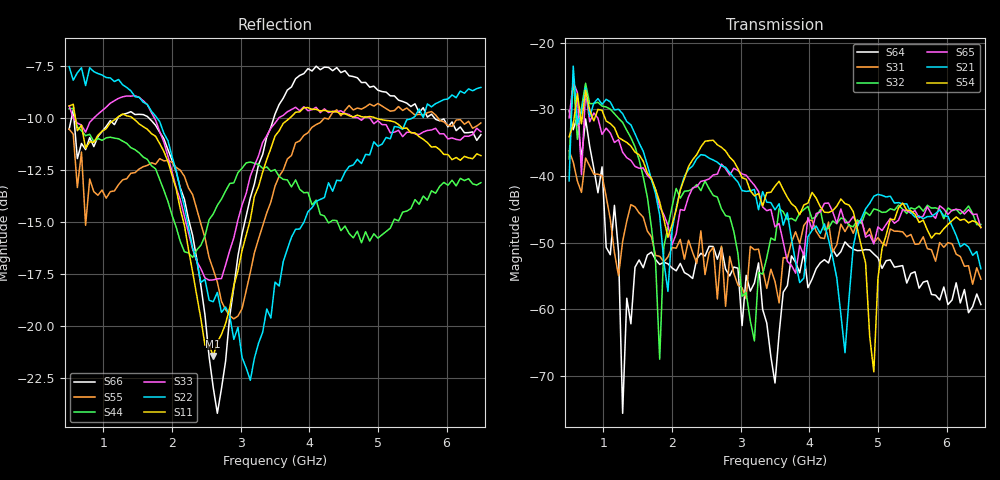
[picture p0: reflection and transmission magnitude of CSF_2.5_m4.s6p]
!Keysight Technologies,M9804A,MY58100912,A.14.10.03
!Date: Thursday, April 27, 2023 10:28:33
!Correction: S11(C  6-Port  )
!S12(C  6-Port  )
!S13(C  6-Port  )
!S14(C  6-Port  )
!S15(C  6-Port  )
!S16(C  6-Port  )
!S21(C  6-Port  )
!S22(C  6-Port  )
!S23(C  6-Port  )
!S24(C  6-Port  )
!S25(C  6-Port  )
!S26(C  6-Port  )
!S31(C  6-Port  )
!S32(C  6-Port  )
!S33(C  6-Port  )
!S34(C  6-Port  )
!S35(C  6-Port  )
!S36(C  6-Port  )
!S41(C  6-Port  )
!S42(C  6-Port  )
!S43(C  6-Port  )
!S44(C  6-Port  )
!S45(C  6-Port  )
!S46(C  6-Port  )
!S51(C  6-Port  )
!S52(C  6-Port  )
!S53(C  6-Port  )
!S54(C  6-Port  )
!S55(C  6-Port  )
!S56(C  6-Port  )
!S61(C  6-Port  )
!S62(C  6-Port  )
!S63(C  6-Port  )
!S64(C  6-Port  )
!S65(C  6-Port  )
!S66(C  6-Port  )
!S6P File: Measurement: :
# Hz S  RI  R 50
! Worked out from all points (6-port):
!   101 points, 500 MHz to 6.5 GHz, reference 50 ohm
!   strongest paths, dB at 500 MHz, 2 GHz, 3.5 GHz, 5 GHz, 6.5 GHz:
!     S54: -34.1, -47.3, -41.5, -55.3, -47.7
!     S21: -40.7, -48.1, -45.1, -42.7, -53.9
!     S65: -31.3, -50.3, -47.6, -47.6, -47.7
!     S32: -37.4, -44.6, -49.6, -45.1, -47.3
!     S31: -36.2, -50.7, -55.8, -49.2, -55.4
!     S64: -30.2, -53.8, -71.0, -52.3, -59.3
!   lowest |S11| = -21.5 dB at 2.6 GHz (marker M1), VSWR 1.18, Z = 42.5 + j2.15 ohm
!   |S11| at or under -10 dB: 591.5 MHz to 1.192 GHz (600.8 MHz wide, 67.4 % of centre); 1.427 GHz to 3.713 GHz (2.285 GHz wide, 88.9 % of centre); 4.971 GHz to end of sweep
